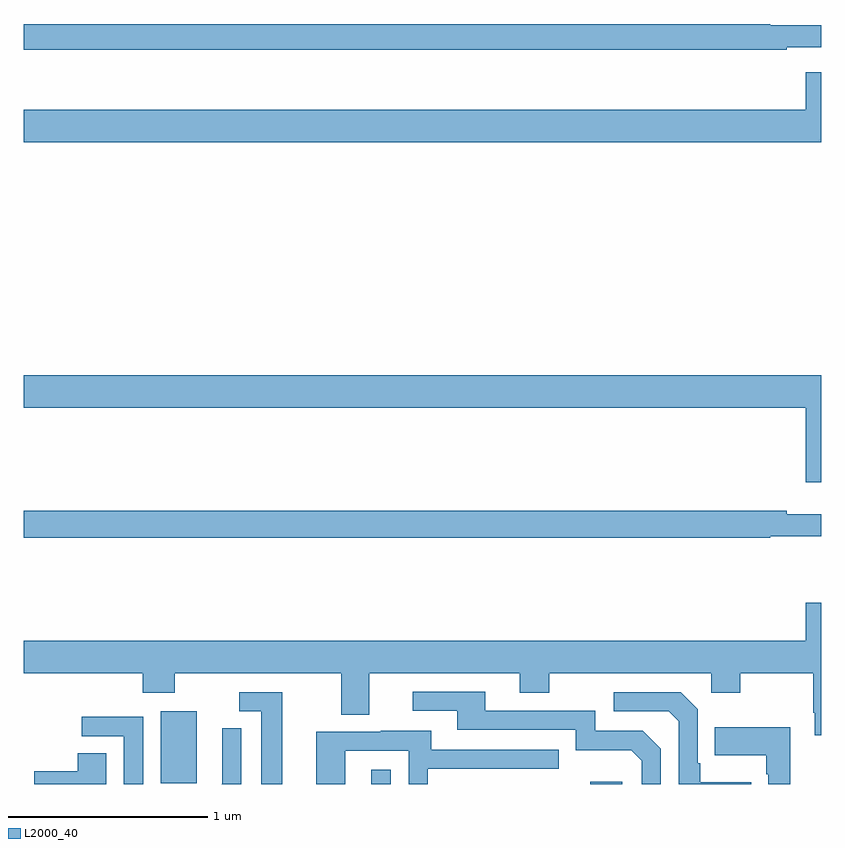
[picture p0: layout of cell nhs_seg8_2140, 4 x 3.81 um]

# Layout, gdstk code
import gdstk
lib = gdstk.Library(unit=1e-6, precision=1e-09)
def R(c, l, rs):  # rectangles x0, y0, x1, y1
    for r in rs: c.add(gdstk.rectangle(r[:2], r[2:], *l))
def P(c, l, *ps):  # polygons
    for p in ps: c.add(gdstk.Polygon(p, *l))
L2000_40 = (2000, 40)

nhs_seg8_2140 = lib.new_cell('nhs_seg8_2140')
R(nhs_seg8_2140, L2000_40, [(246.743,1159.9,246.84,1159.972), (247.841,1159.9,248.002,1159.912), (245.687,1159.905,245.866,1160.266)])
P(nhs_seg8_2140, L2000_40, [(248.828,1163.598),(249,1163.598),(249,1163.707),(248.745,1163.707),(248.745,1163.714),(245,1163.714),(245,1163.586),(248.828,1163.586)],
  [(249,1163.473),(248.924,1163.473),(248.924,1163.284),(245,1163.284),(245,1163.12),(249,1163.12)],
  [(249,1161.952),(245,1161.952),(245,1161.788),(248.924,1161.788),(248.924,1161.414),(249,1161.414)],
  [(248.745,1161.144),(249,1161.144),(249,1161.253),(248.828,1161.253),(248.828,1161.272),(245,1161.272),(245,1161.136),(248.745,1161.136)],
  [(245,1160.456),(245.597,1160.456),(245.597,1160.357),(245.757,1160.357),(245.757,1160.456),(246.593,1160.456),(246.593,1160.248),(246.733,1160.248),(246.733,1160.456),(247.487,1160.456),(247.487,1160.357),(247.635,1160.357),(247.635,1160.456),(248.448,1160.456),(248.448,1160.357),(248.595,1160.357),(248.595,1160.456),(248.962,1160.456),(248.962,1160.257),(248.969,1160.257),(248.969,1160.145),(249,1160.145),(249,1160.809),(248.924,1160.809),(248.924,1160.62),(245,1160.62)],
  [(248.196,1160.076),(248.106,1160.166),(247.866,1160.166),(247.866,1160.268),(247.315,1160.268),(247.315,1160.364),(246.951,1160.364),(246.951,1160.268),(247.175,1160.268),(247.175,1160.172),(247.77,1160.172),(247.77,1160.069),(248.047,1160.069),(248.1,1160.016),(248.1,1159.9),(248.196,1159.9)],
  [(248.651,1159.909),(248.395,1159.909),(248.395,1160.005),(248.382,1160.005),(248.382,1160.274),(248.295,1160.361),(247.959,1160.361),(247.959,1160.265),(248.235,1160.265),(248.286,1160.214),(248.286,1159.9),(248.651,1159.9)],
  [(246.295,1160.361),(246.081,1160.361),(246.081,1160.265),(246.191,1160.265),(246.191,1159.9),(246.295,1159.9)],
  [(245.598,1160.238),(245.289,1160.238),(245.289,1160.139),(245.502,1160.139),(245.502,1159.9),(245.598,1159.9)],
  [(248.845,1160.185),(248.467,1160.185),(248.467,1160.045),(248.724,1160.045),(248.724,1159.949),(248.736,1159.949),(248.736,1159.9),(248.845,1159.9)],
  [(246.09,1160.18),(245.994,1160.18),(245.994,1160.026),(245.996,1160.026),(245.996,1159.904),(245.992,1159.9),(246.09,1159.9)],
  [(246.612,1160.067),(246.93,1160.067),(246.93,1159.9),(247.026,1159.9),(247.026,1159.977),(247.685,1159.977),(247.685,1160.073),(247.045,1160.073),(247.045,1160.167),(246.791,1160.167),(246.791,1160.163),(246.467,1160.163),(246.467,1159.9),(246.612,1159.9)],
  [(245.413,1160.054),(245.27,1160.054),(245.27,1159.964),(245.052,1159.964),(245.052,1159.9),(245.413,1159.9)])

lib.write_gds('nhs_seg8_2140.gds')
